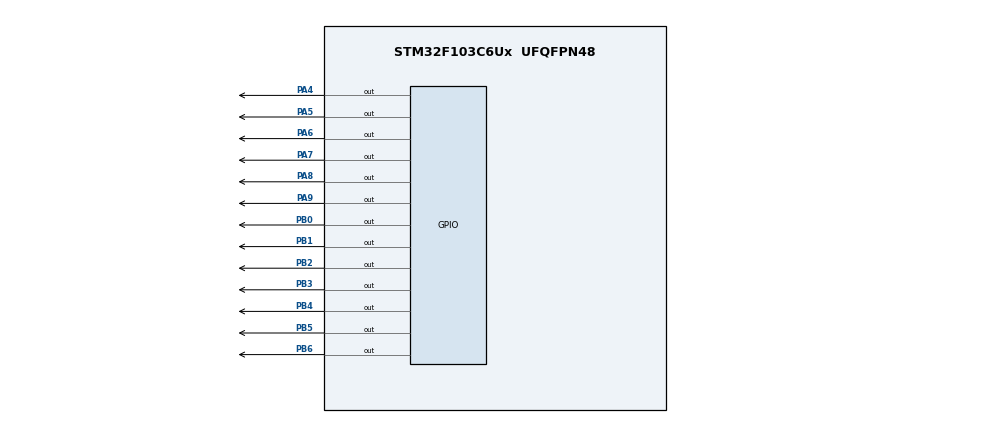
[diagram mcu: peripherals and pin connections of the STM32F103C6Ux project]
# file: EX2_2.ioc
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Mcu.Family=STM32F1
Mcu.Name=STM32F103C6Ux
Mcu.Package=UFQFPN48
NVIC.PriorityGroup=NVIC_PRIORITYGROUP_4
NVIC.TIM2_IRQn=true\:0\:0\:false\:false\:true\:true\:true
PA4.Signal=GPIO_Output
PA5.Signal=GPIO_Output
PA6.Signal=GPIO_Output
PA7.Signal=GPIO_Output
PA8.Signal=GPIO_Output
PA9.Signal=GPIO_Output
PB0.Signal=GPIO_Output
PB1.Signal=GPIO_Output
PB2.Signal=GPIO_Output
PB3.Signal=GPIO_Output
PB4.Signal=GPIO_Output
PB5.Signal=GPIO_Output
PB6.Signal=GPIO_Output
ProjectManager.HeapSize=0x200
ProjectManager.StackSize=0x400
ProjectManager.TargetToolchain=STM32CubeIDE
RCC.APB1Freq_Value=8000000
RCC.APB2Freq_Value=8000000
TIM2.Period=9
TIM2.Prescaler=7999
VP_SYS_VS_ND.Mode=No_Debug
VP_TIM2_VS_ClockSourceINT.Mode=Internal
board=custom

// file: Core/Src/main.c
/* USER CODE BEGIN Header */
/**
  ******************************************************************************
  * @file           : main.c
  * @brief          : Main program body
  ******************************************************************************
  * @attention
  *
  * <h2><center>&copy; Copyright (c) 2022 STMicroelectronics.
  * All rights reserved.</center></h2>
  *
  * This software component is licensed by ST under BSD 3-Clause license,
  * the "License"; You may not use this file except in compliance with the
  * License. You may obtain a copy of the License at:
  *                        opensource.org/licenses/BSD-3-Clause
  *
  ******************************************************************************
  */
/* USER CODE END Header */
#include "main.h"

TIM_HandleTypeDef htim2;

void SystemClock_Config(void);
static void MX_GPIO_Init(void);
static void MX_TIM2_Init(void);

int main(void)
{

  /* MCU Configuration--------------------------------------------------------*/

  /* Reset of all peripherals, Initializes the Flash interface and the Systick. */
  HAL_Init();

  /* Configure the system clock */
  SystemClock_Config();

  /* USER CODE BEGIN SysInit */
  HAL_TIM_Base_Start_IT(&htim2);
  /* USER CODE END SysInit */

  /* Initialize all configured peripherals */
  MX_GPIO_Init();
  MX_TIM2_Init();

  /* Infinite loop */
  while (1)
  {

  }
}

void SystemClock_Config(void)
{
  RCC_OscInitTypeDef RCC_OscInitStruct = {0};
  RCC_ClkInitTypeDef RCC_ClkInitStruct = {0};

  /** Initializes the RCC Oscillators according to the specified parameters
  * in the RCC_OscInitTypeDef structure.
  */
  RCC_OscInitStruct.OscillatorType = RCC_OSCILLATORTYPE_HSI;
  RCC_OscInitStruct.HSIState = RCC_HSI_ON;
  RCC_OscInitStruct.HSICalibrationValue = RCC_HSICALIBRATION_DEFAULT;
  RCC_OscInitStruct.PLL.PLLState = RCC_PLL_NONE;
  if (HAL_RCC_OscConfig(&RCC_OscInitStruct) != HAL_OK)
  {
    Error_Handler();
  }
  /** Initializes the CPU, AHB and APB buses clocks
  */
  RCC_ClkInitStruct.ClockType = RCC_CLOCKTYPE_HCLK|RCC_CLOCKTYPE_SYSCLK
                              |RCC_CLOCKTYPE_PCLK1|RCC_CLOCKTYPE_PCLK2;
  RCC_ClkInitStruct.SYSCLKSource = RCC_SYSCLKSOURCE_HSI;
  RCC_ClkInitStruct.AHBCLKDivider = RCC_SYSCLK_DIV1;
  RCC_ClkInitStruct.APB1CLKDivider = RCC_HCLK_DIV1;
  RCC_ClkInitStruct.APB2CLKDivider = RCC_HCLK_DIV1;

  if (HAL_RCC_ClockConfig(&RCC_ClkInitStruct, FLASH_LATENCY_0) != HAL_OK)
  {
    Error_Handler();
  }
}

static void MX_TIM2_Init(void)
{

  TIM_ClockConfigTypeDef sClockSourceConfig = {0};
  TIM_MasterConfigTypeDef sMasterConfig = {0};

  htim2.Instance = TIM2;
  htim2.Init.Prescaler = 7999;
  htim2.Init.CounterMode = TIM_COUNTERMODE_UP;
  htim2.Init.Period = 9;
  htim2.Init.ClockDivision = TIM_CLOCKDIVISION_DIV1;
  htim2.Init.AutoReloadPreload = TIM_AUTORELOAD_PRELOAD_DISABLE;
  if (HAL_TIM_Base_Init(&htim2) != HAL_OK)
  {
    Error_Handler();
  }
  sClockSourceConfig.ClockSource = TIM_CLOCKSOURCE_INTERNAL;
  if (HAL_TIM_ConfigClockSource(&htim2, &sClockSourceConfig) != HAL_OK)
  {
    Error_Handler();
  }
  sMasterConfig.MasterOutputTrigger = TIM_TRGO_RESET;
  sMasterConfig.MasterSlaveMode = TIM_MASTERSLAVEMODE_DISABLE;
  if (HAL_TIMEx_MasterConfigSynchronization(&htim2, &sMasterConfig) != HAL_OK)
  {
    Error_Handler();
  }

}

static void MX_GPIO_Init(void)
{
  GPIO_InitTypeDef GPIO_InitStruct = {0};

  /* GPIO Ports Clock Enable */
  __HAL_RCC_GPIOA_CLK_ENABLE();
  __HAL_RCC_GPIOB_CLK_ENABLE();

  /*Configure GPIO pin Output Level */
  HAL_GPIO_WritePin(GPIOA, GPIO_PIN_4|GPIO_PIN_5|GPIO_PIN_6|GPIO_PIN_7
                          |GPIO_PIN_8|GPIO_PIN_9, GPIO_PIN_RESET);

  /*Configure GPIO pin Output Level */
  HAL_GPIO_WritePin(GPIOB, GPIO_PIN_0|GPIO_PIN_1|GPIO_PIN_2|GPIO_PIN_3
                          |GPIO_PIN_4|GPIO_PIN_5|GPIO_PIN_6, GPIO_PIN_RESET);

  /*Configure GPIO pins : PA4 PA5 PA6 PA7
                           PA8 PA9 */
  GPIO_InitStruct.Pin = GPIO_PIN_4|GPIO_PIN_5|GPIO_PIN_6|GPIO_PIN_7
                          |GPIO_PIN_8|GPIO_PIN_9;
  GPIO_InitStruct.Mode = GPIO_MODE_OUTPUT_PP;
  GPIO_InitStruct.Pull = GPIO_NOPULL;
  GPIO_InitStruct.Speed = GPIO_SPEED_FREQ_LOW;
  HAL_GPIO_Init(GPIOA, &GPIO_InitStruct);

  /*Configure GPIO pins : PB0 PB1 PB2 PB3
                           PB4 PB5 PB6 */
  GPIO_InitStruct.Pin = GPIO_PIN_0|GPIO_PIN_1|GPIO_PIN_2|GPIO_PIN_3
                          |GPIO_PIN_4|GPIO_PIN_5|GPIO_PIN_6;
  GPIO_InitStruct.Mode = GPIO_MODE_OUTPUT_PP;
  GPIO_InitStruct.Pull = GPIO_NOPULL;
  GPIO_InitStruct.Speed = GPIO_SPEED_FREQ_LOW;
  HAL_GPIO_Init(GPIOB, &GPIO_InitStruct);

}

/* USER CODE BEGIN 4 */
void display7SEG ( int num ) {
 char led7seg [10] = { 0x40 , 0x79 , 0x24 , 0x30 , 0x19 , 0x92 ,
0x02 , 0x78 , 0x0 ,0x10 };
 	 for ( int i = 0; i < 7; i++) {
 		 HAL_GPIO_WritePin (GPIOB , GPIO_PIN_0 << i, ( led7seg [ num]>> i) & 1);
 }
 }
 int counter = 200;
 void HAL_TIM_PeriodElapsedCallback ( TIM_HandleTypeDef * htim )
{
 counter --;
 if( counter == 150) {
 HAL_GPIO_WritePin ( GPIOA , GPIO_PIN_6 , GPIO_PIN_RESET);
 HAL_GPIO_WritePin ( GPIOA , GPIO_PIN_7 , GPIO_PIN_SET );
 HAL_GPIO_WritePin ( GPIOA , GPIO_PIN_8 , GPIO_PIN_SET );
 HAL_GPIO_WritePin ( GPIOA , GPIO_PIN_9 , GPIO_PIN_SET );
 display7SEG (1) ;
 }
 if( counter == 100) {
 HAL_GPIO_WritePin ( GPIOA , GPIO_PIN_6 , GPIO_PIN_SET );
 HAL_GPIO_WritePin ( GPIOA , GPIO_PIN_7 , GPIO_PIN_RESET
);
 HAL_GPIO_WritePin ( GPIOA , GPIO_PIN_8 , GPIO_PIN_SET );
 HAL_GPIO_WritePin ( GPIOA , GPIO_PIN_9 , GPIO_PIN_SET );
 display7SEG (2) ;
 HAL_GPIO_TogglePin ( GPIOA , GPIO_PIN_5 );
 HAL_GPIO_TogglePin ( GPIOA , GPIO_PIN_4 );
 }
 if( counter == 50) {
 HAL_GPIO_WritePin ( GPIOA , GPIO_PIN_6 , GPIO_PIN_SET );
 HAL_GPIO_WritePin ( GPIOA , GPIO_PIN_7 , GPIO_PIN_SET );
 HAL_GPIO_WritePin ( GPIOA , GPIO_PIN_8 , GPIO_PIN_RESET
);
 HAL_GPIO_WritePin ( GPIOA , GPIO_PIN_9 , GPIO_PIN_SET );
 display7SEG (3) ;
 }
 if( counter <= 0){
 counter = 200;
 HAL_GPIO_WritePin ( GPIOA , GPIO_PIN_6 , GPIO_PIN_SET );
 HAL_GPIO_WritePin ( GPIOA , GPIO_PIN_7 , GPIO_PIN_SET );
 HAL_GPIO_WritePin ( GPIOA , GPIO_PIN_8 , GPIO_PIN_SET );
 HAL_GPIO_WritePin ( GPIOA , GPIO_PIN_9 , GPIO_PIN_RESET
);
 display7SEG (0) ;
 HAL_GPIO_TogglePin ( GPIOA , GPIO_PIN_5 );
 HAL_GPIO_TogglePin ( GPIOA , GPIO_PIN_4 );
 }
 }
/* USER CODE END 4 */

void Error_Handler(void)
{
  __disable_irq();
  while (1)
  {
  }
}

/************************ (C) COPYRIGHT STMicroelectronics *****END OF FILE****/
